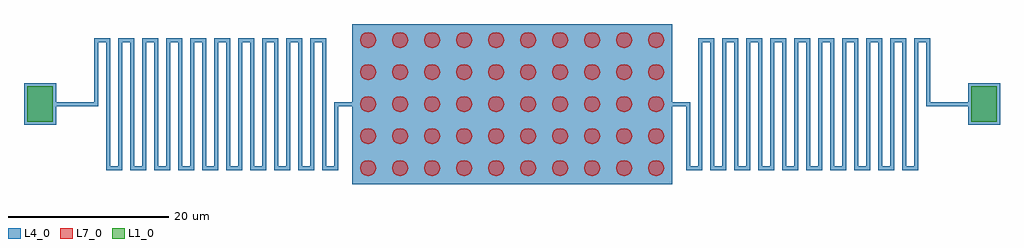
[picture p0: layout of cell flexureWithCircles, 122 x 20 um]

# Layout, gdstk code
import gdstk
lib = gdstk.Library(unit=1e-6, precision=1e-09)
def R(c, l, rs):  # rectangles x0, y0, x1, y1
    for r in rs: c.add(gdstk.rectangle(r[:2], r[2:], *l))
def P(c, l, *ps):  # polygons
    for p in ps: c.add(gdstk.Polygon(p, *l))
L1_0 = (1, 0)
L4_0 = (4, 0)
L7_0 = (7, 0)

circlearray = lib.new_cell('circleArray')
P(circlearray, L7_0, [(0,-1),(-0.383,-0.924),(-0.707,-0.707),(-0.924,-0.383),(-1,0),(-0.924,0.383),(-0.707,0.707),(-0.383,0.924),(0,1),(0.383,0.924),(0.707,0.707),(0.924,0.383),(1,0),(0.924,-0.383),(0.707,-0.707),(0.383,-0.924)])

flexurewithcircles = lib.new_cell('flexureWithCircles')
R(flexurewithcircles, L1_0, [(-60.6,-2.2,-57.4,2.2), (57.4,-2.2,60.6,2.2)])
P(flexurewithcircles, L4_0, [(-20,-10),(-20,-0.25),(-21.75,-0.25),(-21.75,-8.25),(-23.75,-8.25),(-23.75,7.75),(-24.75,7.75),(-24.75,-8),(-24.75,-8.25),(-26.75,-8.25),(-26.75,7.75),(-27.75,7.75),(-27.75,-8),(-27.75,-8.25),(-29.75,-8.25),(-29.75,7.75),(-30.75,7.75),(-30.75,-8),(-30.75,-8.25),(-32.75,-8.25),(-32.75,7.75),(-33.75,7.75),(-33.75,-8),(-33.75,-8.25),(-35.75,-8.25),(-35.75,7.75),(-36.75,7.75),(-36.75,-8),(-36.75,-8.25),(-38.75,-8.25),(-38.75,7.75),(-39.75,7.75),(-39.75,-8),(-39.75,-8.25),(-41.75,-8.25),(-41.75,7.75),(-42.75,7.75),(-42.75,-8),(-42.75,-8.25),(-44.75,-8.25),(-44.75,7.75),(-45.75,7.75),(-45.75,-8),(-45.75,-8.25),(-47.75,-8.25),(-47.75,7.75),(-48.75,7.75),(-48.75,-8),(-48.75,-8.25),(-50.75,-8.25),(-50.75,7.75),(-51.75,7.75),(-51.75,-0.25),(-57,-0.25),(-57,-2.6),(-61,-2.6),(-61,2.6),(-57,2.6),(-57,0.25),(-52.25,0.25),(-52.25,8.25),(-50.25,8.25),(-50.25,-7.75),(-49.25,-7.75),(-49.25,8),(-49.25,8.25),(-47.25,8.25),(-47.25,-7.75),(-46.25,-7.75),(-46.25,8),(-46.25,8.25),(-44.25,8.25),(-44.25,-7.75),(-43.25,-7.75),(-43.25,8),(-43.25,8.25),(-41.25,8.25),(-41.25,-7.75),(-40.25,-7.75),(-40.25,8),(-40.25,8.25),(-38.25,8.25),(-38.25,-7.75),(-37.25,-7.75),(-37.25,8),(-37.25,8.25),(-35.25,8.25),(-35.25,-7.75),(-34.25,-7.75),(-34.25,8),(-34.25,8.25),(-32.25,8.25),(-32.25,-7.75),(-31.25,-7.75),(-31.25,8),(-31.25,8.25),(-29.25,8.25),(-29.25,-7.75),(-28.25,-7.75),(-28.25,8),(-28.25,8.25),(-26.25,8.25),(-26.25,-7.75),(-25.25,-7.75),(-25.25,8),(-25.25,8.25),(-23.25,8.25),(-23.25,-7.75),(-22.25,-7.75),(-22.25,0.25),(-20,0.25),(-20,10),(20,10),(20,0.25),(22.25,0.25),(22.25,-7.75),(23.25,-7.75),(23.25,8.25),(25.25,8.25),(25.25,0),(25.25,-7.75),(26.25,-7.75),(26.25,8.25),(28.25,8.25),(28.25,0),(28.25,-7.75),(29.25,-7.75),(29.25,8.25),(31.25,8.25),(31.25,0),(31.25,-7.75),(32.25,-7.75),(32.25,8.25),(34.25,8.25),(34.25,0),(34.25,-7.75),(35.25,-7.75),(35.25,8.25),(37.25,8.25),(37.25,0),(37.25,-7.75),(38.25,-7.75),(38.25,8.25),(40.25,8.25),(40.25,0),(40.25,-7.75),(41.25,-7.75),(41.25,8.25),(43.25,8.25),(43.25,0),(43.25,-7.75),(44.25,-7.75),(44.25,8.25),(46.25,8.25),(46.25,0),(46.25,-7.75),(47.25,-7.75),(47.25,8.25),(49.25,8.25),(49.25,0),(49.25,-7.75),(50.25,-7.75),(50.25,8.25),(52.25,8.25),(52.25,0.25),(57,0.25),(57,2.6),(61,2.6),(61,-2.6),(57,-2.6),(57,-0.25),(51.75,-0.25),(51.75,7.75),(50.75,7.75),(50.75,-8.25),(48.75,-8.25),(48.75,0),(48.75,7.75),(47.75,7.75),(47.75,-8.25),(45.75,-8.25),(45.75,0),(45.75,7.75),(44.75,7.75),(44.75,-8.25),(42.75,-8.25),(42.75,0),(42.75,7.75),(41.75,7.75),(41.75,-8.25),(39.75,-8.25),(39.75,0),(39.75,7.75),(38.75,7.75),(38.75,-8.25),(36.75,-8.25),(36.75,0),(36.75,7.75),(35.75,7.75),(35.75,-8.25),(33.75,-8.25),(33.75,0),(33.75,7.75),(32.75,7.75),(32.75,-8.25),(30.75,-8.25),(30.75,0),(30.75,7.75),(29.75,7.75),(29.75,-8.25),(27.75,-8.25),(27.75,0),(27.75,7.75),(26.75,7.75),(26.75,-8.25),(24.75,-8.25),(24.75,0),(24.75,7.75),(23.75,7.75),(23.75,-8.25),(21.75,-8.25),(21.75,-0.25),(20,-0.25),(20,-10)])
r = gdstk.Reference(circlearray, (-18,-8)); r.repetition = gdstk.Repetition(10, 5, v1=(4,0), v2=(0,4)); flexurewithcircles.add(r)

lib.write_gds('flexureWithCircles.gds')
